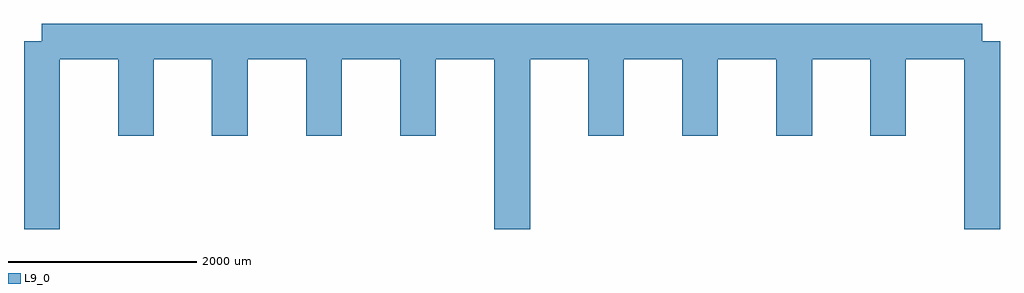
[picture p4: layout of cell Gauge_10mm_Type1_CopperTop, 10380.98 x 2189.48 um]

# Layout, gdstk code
import gdstk
lib = gdstk.Library(unit=1e-6, precision=1e-09)
L9_0 = (9, 0)

gauge_10mm_type1_coppert = lib.new_cell('Gauge_10mm_Type1_CopperTop')
gauge_10mm_type1_coppert.add(gdstk.FlexPath([(9999.98,0),(9999.98,-1998.98)], 380.998, ends="flush", simple_path=True, layer=9, datatype=0))  # L9_0
gauge_10mm_type1_coppert.add(gdstk.FlexPath([(0,0),(9999.98,0)], 380.998, ends="flush", simple_path=True, layer=9, datatype=0))  # L9_0
gauge_10mm_type1_coppert.add(gdstk.FlexPath([(0,0),(0,-1998.98)], 380.998, ends="flush", simple_path=True, layer=9, datatype=0))  # L9_0
gauge_10mm_type1_coppert.add(gdstk.FlexPath([(5001.26,0),(5001.26,-1998.98)], 380.998, ends="flush", simple_path=True, layer=9, datatype=0))  # L9_0
gauge_10mm_type1_coppert.add(gdstk.FlexPath([(1000.76,0),(1000.76,-1000.76)], 380.998, ends="flush", simple_path=True, layer=9, datatype=0))  # L9_0
gauge_10mm_type1_coppert.add(gdstk.FlexPath([(1998.98,0),(1998.98,-1000.76)], 380.998, ends="flush", simple_path=True, layer=9, datatype=0))  # L9_0
gauge_10mm_type1_coppert.add(gdstk.FlexPath([(2999.74,0),(2999.74,-1000.76)], 380.998, ends="flush", simple_path=True, layer=9, datatype=0))  # L9_0
gauge_10mm_type1_coppert.add(gdstk.FlexPath([(4000.5,0),(4000.5,-1000.76)], 380.998, ends="flush", simple_path=True, layer=9, datatype=0))  # L9_0
gauge_10mm_type1_coppert.add(gdstk.FlexPath([(5999.48,0),(5999.48,-1000.76)], 380.998, ends="flush", simple_path=True, layer=9, datatype=0))  # L9_0
gauge_10mm_type1_coppert.add(gdstk.FlexPath([(7000.24,0),(7000.24,-1000.76)], 380.998, ends="flush", simple_path=True, layer=9, datatype=0))  # L9_0
gauge_10mm_type1_coppert.add(gdstk.FlexPath([(8001,0),(8001,-1000.76)], 380.998, ends="flush", simple_path=True, layer=9, datatype=0))  # L9_0
gauge_10mm_type1_coppert.add(gdstk.FlexPath([(8999.22,0),(8999.22,-1000.76)], 380.998, ends="flush", simple_path=True, layer=9, datatype=0))  # L9_0
gauge_10mm_type1_coppert.add(gdstk.Label('10mm', (9999.98,-2700.02), layer=9, texttype=0))
gauge_10mm_type1_coppert.add(gdstk.Label('0', (0,-2799.08), layer=9, texttype=0))
gauge_10mm_type1_coppert.add(gdstk.Label('5', (4998.72,-2900.68), layer=9, texttype=0))
gauge_10mm_type1_coppert.add(gdstk.Label('type', (10200.64,-4800.6), layer=9, texttype=0))
gauge_10mm_type1_coppert.add(gdstk.Label('devicename', (0,2999.74), layer=9, texttype=0))

lib.write_gds('Gauge_10mm_Type1_CopperTop.gds')
